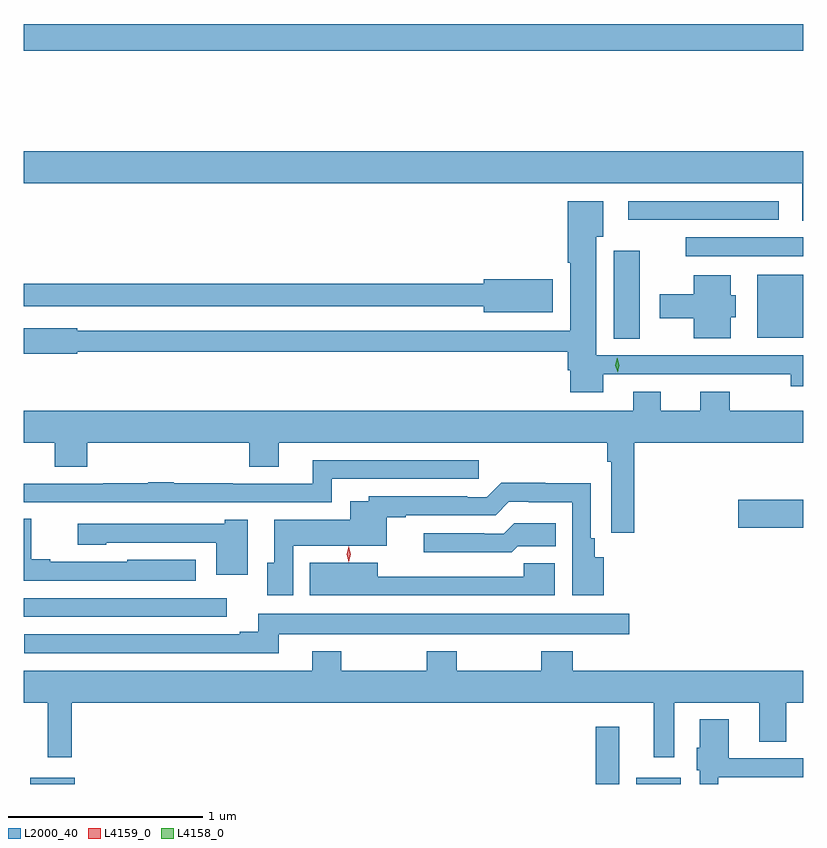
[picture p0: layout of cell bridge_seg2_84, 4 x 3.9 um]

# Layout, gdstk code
import gdstk
lib = gdstk.Library(unit=1e-6, precision=1e-09)
def R(c, l, rs):  # rectangles x0, y0, x1, y1
    for r in rs: c.add(gdstk.rectangle(r[:2], r[2:], *l))
def P(c, l, *ps):  # polygons
    for p in ps: c.add(gdstk.Polygon(p, *l))
L2000_40 = (2000, 40)
L4158_0 = (4158, 0)
L4159_0 = (4159, 0)

bridge_seg2_84 = lib.new_cell('bridge_seg2_84')
R(bridge_seg2_84, L2000_40, [(291.575,659.206,291.802,659.239), (294.474,659.206,294.595,659.5), (294.683,659.206,294.91,659.239), (291.54,660.063,292.582,660.159), (295.206,660.521,295.54,660.663), (294.566,661.489,294.7,661.942), (295.304,661.496,295.54,661.819), (294.936,661.914,295.54,662.01), (294.642,662.1,295.414,662.196), (291.54,662.968,295.54,663.104)])
P(bridge_seg2_84, L2000_40, [(295.54,662.452),(291.54,662.452),(291.54,662.288),(295.535,662.288),(295.535,662.095),(295.54,662.095)],
  [(294.514,661.308),(295.246,661.308),(295.246,661.307),(295.474,661.307),(295.474,661.245),(295.54,661.245),(295.54,661.404),(294.478,661.404),(294.478,662.012),(294.514,662.012),(294.514,662.194),(294.332,662.194),(294.332,661.879),(294.344,661.879),(294.344,661.53),(291.816,661.53),(291.816,661.543),(291.54,661.543),(291.54,661.414),(291.816,661.414),(291.816,661.422),(294.332,661.422),(294.332,661.328),(294.344,661.328),(294.344,661.214),(294.514,661.214)],
  [(295.168,661.599),(295.192,661.599),(295.192,661.713),(295.168,661.713),(295.168,661.816),(294.977,661.816),(294.977,661.717),(294.804,661.717),(294.804,661.595),(294.977,661.595),(294.977,661.493),(295.168,661.493)],
  [(294.253,661.796),(293.9,661.796),(293.9,661.772),(291.54,661.772),(291.54,661.656),(293.9,661.656),(293.9,661.625),(294.253,661.625)],
  [(294.671,660.956),(295.54,660.956),(295.54,661.12),(295.163,661.12),(295.163,661.219),(295.01,661.219),(295.01,661.12),(294.808,661.12),(294.808,661.219),(294.668,661.219),(294.668,661.12),(291.54,661.12),(291.54,660.956),(291.701,660.956),(291.701,660.832),(291.866,660.832),(291.866,660.956),(292.697,660.956),(292.697,660.832),(292.849,660.832),(292.849,660.956),(294.535,660.956),(294.535,660.86),(294.555,660.86),(294.555,660.495),(294.671,660.495)],
  [(293.121,660.771),(293.875,660.771),(293.875,660.867),(293.024,660.867),(293.024,660.747),(292.613,660.747),(292.613,660.749),(292.311,660.749),(292.311,660.754),(292.179,660.754),(292.179,660.749),(291.949,660.749),(291.949,660.747),(291.54,660.747),(291.54,660.651),(293.121,660.651)],
  [(292.923,660.428),(293.404,660.428),(293.404,660.573),(293.5,660.573),(293.5,660.585),(293.961,660.585),(294.029,660.653),(294.13,660.653),(294.13,660.651),(294.354,660.651),(294.354,660.174),(294.517,660.174),(294.517,660.37),(294.47,660.37),(294.47,660.466),(294.45,660.466),(294.45,660.749),(294.215,660.749),(294.215,660.751),(293.989,660.751),(293.916,660.678),(293.816,660.678),(293.816,660.681),(293.31,660.681),(293.31,660.655),(293.216,660.655),(293.216,660.562),(292.826,660.562),(292.826,660.34),(292.79,660.34),(292.79,660.174),(292.923,660.174)],
  [(292.423,660.355),(292.071,660.355),(292.071,660.345),(291.676,660.345),(291.676,660.358),(291.58,660.358),(291.58,660.566),(291.54,660.566),(291.54,660.249),(292.171,660.249),(292.171,660.248),(292.423,660.248)],
  [(292.69,660.562),(292.572,660.562),(292.572,660.54),(291.819,660.54),(291.819,660.434),(291.963,660.434),(291.963,660.444),(292.529,660.444),(292.529,660.278),(292.69,660.278)],
  [(294.074,660.426),(294.269,660.426),(294.269,660.543),(294.057,660.543),(294.003,660.489),(293.903,660.489),(293.903,660.492),(293.592,660.492),(293.592,660.395),(294.043,660.395)],
  [(293.252,660.174),(294.265,660.174),(294.265,660.337),(294.105,660.337),(294.105,660.27),(293.356,660.27),(293.356,660.34),(293.008,660.34),(293.008,660.173),(293.252,660.173)],
  [(292.849,659.975),(294.646,659.975),(294.646,660.079),(292.745,660.079),(292.745,659.986),(292.649,659.986),(292.649,659.973),(291.543,659.973),(291.543,659.877),(292.849,659.877)],
  [(291.787,659.624),(294.773,659.624),(294.773,659.343),(294.877,659.343),(294.877,659.624),(295.313,659.624),(295.313,659.422),(295.453,659.422),(295.453,659.624),(295.54,659.624),(295.54,659.788),(294.356,659.788),(294.356,659.887),(294.196,659.887),(294.196,659.788),(293.763,659.788),(293.763,659.887),(293.608,659.887),(293.608,659.788),(293.169,659.788),(293.169,659.887),(293.021,659.887),(293.021,659.788),(291.54,659.788),(291.54,659.624),(291.665,659.624),(291.665,659.343),(291.787,659.343)],
  [(295.104,659.241),(295.54,659.241),(295.54,659.337),(295.156,659.337),(295.156,659.539),(295.007,659.539),(295.007,659.391),(294.992,659.391),(294.992,659.277),(295.008,659.277),(295.008,659.206),(295.104,659.206)])
P(bridge_seg2_84, L4158_0, [(294.587,661.319),(294.587,661.319),(294.576,661.355),(294.586,661.391),(294.586,661.391),(294.586,661.391),(294.596,661.355),(294.587,661.319)])
P(bridge_seg2_84, L4159_0, [(293.208,660.344),(293.208,660.344),(293.198,660.384),(293.208,660.425),(293.208,660.425),(293.208,660.425),(293.218,660.385),(293.209,660.344)])

lib.write_gds('bridge_seg2_84.gds')
